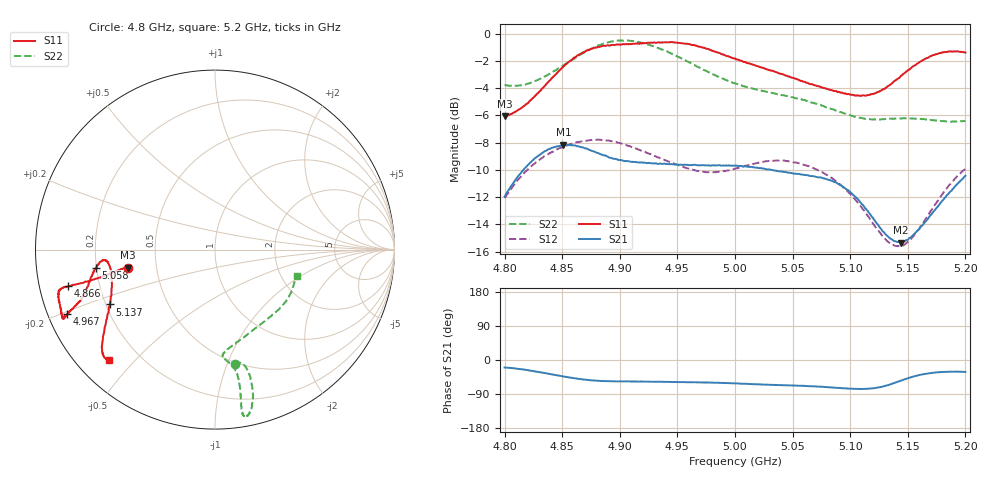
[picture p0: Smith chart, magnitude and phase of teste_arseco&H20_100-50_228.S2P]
! Network Analyzer HP8722D
! Hewlett-Packard
! Data name: Linha & Wilkinson
! Saver's name: Rodrigo Anjos
! Comments: Teste da utilização de aquisição
! continua pelo VNA HP8722D
! Time and date: 6/5/2025 14:28
!  Frequency  S11  S21  S12  S22
# HZ  S  MA R 50
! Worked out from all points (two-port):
!   401 points, 4.8 GHz to 5.2 GHz, reference 50 ohm
!   highest |S21| = -8.16 dB at 4.851 GHz (marker M1); lowest = -15.3 dB at 5.144 GHz (marker M2)
!   |S21| within 3 dB of the highest: 4.806 GHz to 5.092 GHz (286.5 MHz wide, 5.79 % of centre); 5.191642 GHz to end of sweep
!   lowest |S11| = -6.1 dB at 4.8 GHz (marker M3), VSWR 2.98, Z = 17 - j4.56 ohm
!   |S11| at or under -10 dB: nowhere
!   |S22| runs from -6.5 to -0.5 dB; largest |S21 - S12| = 0.62
!   S11 on the Smith chart (normalised r, x): 4.8 GHz: 0.34, -0.09; 4.866 GHz: 0.09, -0.12; 4.967 GHz: 0.06, -0.21; 5.058 GHz: 0.20, -0.07; 5.137 GHz: 0.22, -0.23; 5.2 GHz: 0.09, -0.42
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4.8e9  0.497 -168.2  0.2525 -19.8  0.2491 -141.0  0.648 -80.3
4.823e9  0.5711 -167.6  0.3382 -28.2  0.3255 -143.9  0.6609 -76.0
4.851e9  0.7567 -165.8  0.3908 -43.5  0.3849 -149.4  0.7645 -74.6
4.866e9  0.844 -166.1  0.3835 -50.4  0.4016 -152.0  0.8385 -75.3
4.867e9  0.8478 -165.9  0.3831 -50.8  0.4024 -152.1  0.8427 -75.5
4.883e9  0.8956 -165.2  0.3613 -55.2  0.4079 -154.8  0.9094 -77.1
4.898e9  0.9137 -163.2  0.3449 -56.4  0.3977 -156.6  0.9434 -79.0
4.913e9  0.9184 -159.9  0.3383 -56.6  0.381 -157.1  0.9371 -80.2
4.934e9  0.9301 -156.7  0.3329 -57.5  0.3509 -155.8  0.8824 -80.5
4.967e9  0.8998 -156.4  0.3289 -58.9  0.3133 -148.0  0.7577 -79.8
5e9  0.8112 -159.0  0.3279 -61.9  0.3195 -137.3  0.6567 -81.3
5.032e9  0.7318 -164.6  0.3161 -65.6  0.3413 -134.3  0.6069 -85.4
5.058e9  0.6711 -171.2  0.3041 -68.1  0.3315 -136.2  0.5729 -84.5
5.067e9  0.6526 -173.2  0.3 -69.2  0.3224 -136.8  0.558 -82.6
5.084e9  0.6207 -174.7  0.2885 -72.3  0.2955 -138.4  0.5286 -76.3
5.1e9  0.5974 -172.2  0.262 -75.5  0.258 -138.8  0.5024 -67.1
5.115e9  0.5952 -166.1  0.2236 -76.0  0.215 -135.8  0.4863 -56.5
5.134e9  0.646 -154.3  0.178 -65.3  0.1705 -120.6  0.4871 -43.4
5.137e9  0.6609 -152.5  0.1746 -62.1  0.1678 -116.8  0.4877 -41.5
5.144e9  0.7002 -148.9  0.171 -54.5  0.166 -107.5  0.4883 -37.5
5.173e9  0.835 -138.9  0.2241 -33.3  0.2335 -80.8  0.481 -24.3
5.2e9  0.8521 -133.8  0.3008 -31.4  0.3196 -77.0  0.4779 -17.6
